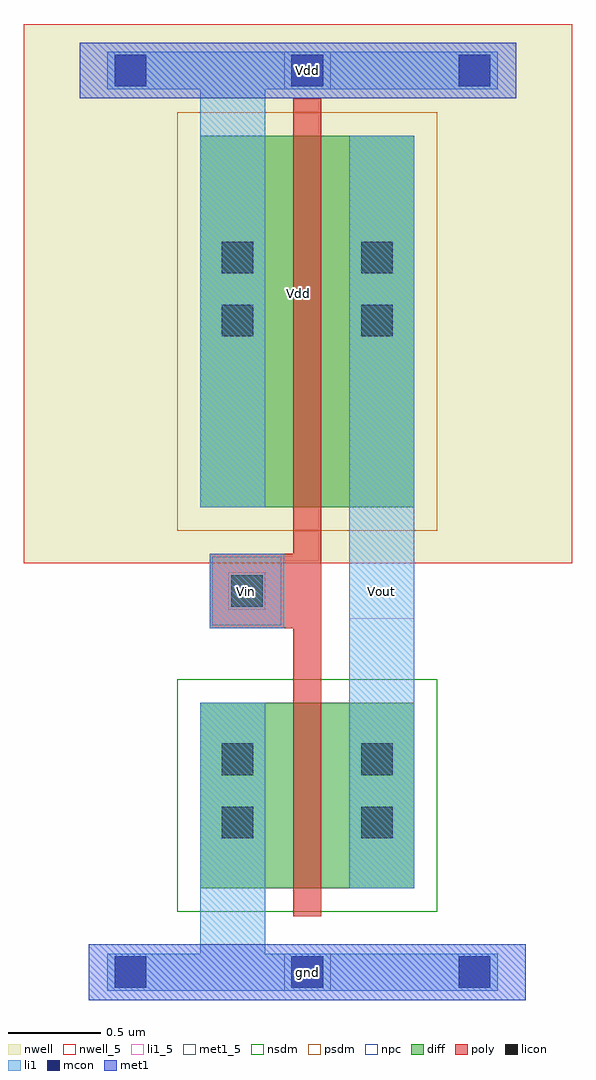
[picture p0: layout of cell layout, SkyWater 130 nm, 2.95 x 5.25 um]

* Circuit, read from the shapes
.subckt layout Vdd Vin Vout gnd
XM1 Vout Vin gnd VSUBS sky130_fd_pr__nfet_01v8 w=1 l=0.15
XM2 Vout Vin Vdd Vdd sky130_fd_pr__pfet_01v8 w=2 l=0.15
.ends

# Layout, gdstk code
import gdstk
lib = gdstk.Library(unit=1e-6, precision=1e-09)
def R(c, l, rs):  # rectangles x0, y0, x1, y1
    for r in rs: c.add(gdstk.rectangle(r[:2], r[2:], *l))
nwell_5 = (64, 5)
nwell = (64, 20)
diff = (65, 20)
poly = (66, 20)
licon = (66, 44)
li1_5 = (67, 5)
li1 = (67, 20)
mcon = (67, 44)
met1_5 = (68, 5)
met1 = (68, 20)
nsdm = (93, 44)
psdm = (94, 20)
npc = (95, 20)

layout = lib.new_cell('layout')
R(layout, nwell_5, [(-1.1,0.3,1.85,3.2)])
R(layout, nwell, [(-1.1,0.3,1.85,3.2)])
R(layout, diff, [(-0.15,-1.45,1,-0.45), (-0.15,0.6,1,2.6)])
R(layout, poly, [(0.35,-1.6,0.5,-0.05), (-0.1,-0.05,0.5,0.35), (0.35,0.35,0.5,2.8)])
R(layout, licon, [(-0.035,-1.18,0.135,-1.01), (0.715,-1.18,0.885,-1.01), (-0.035,-0.84,0.135,-0.67), (0.715,-0.84,0.885,-0.67), (0.015,0.065,0.185,0.235), (-0.035,1.52,0.135,1.69), (0.715,1.52,0.885,1.69), (-0.035,1.86,0.135,2.03), (0.715,1.86,0.885,2.03)])
R(layout, li1_5, [(0.65,0,1,0.3), (0,0.05,0.2,0.25)])
R(layout, li1, [(-0.65,-2,1.45,-1.8), (-0.15,-1.8,0.2,-0.45), (0.65,-1.45,1,2.6), (-0.1,-0.05,0.3,0.35), (-0.15,0.6,0.2,2.85), (-0.65,2.85,1.45,3.05)])
R(layout, mcon, [(-0.61,-1.985,-0.44,-1.815), (0.34,-1.985,0.51,-1.815), (1.24,-1.985,1.41,-1.815), (-0.61,2.865,-0.44,3.035), (0.34,2.865,0.51,3.035), (1.24,2.865,1.41,3.035)])
R(layout, met1_5, [(0.3,-2,0.55,-1.8), (0.3,2.85,0.55,3.05)])
R(layout, met1, [(-0.75,-2.05,1.6,-1.75), (-0.8,2.8,1.55,3.1)])
R(layout, nsdm, [(-0.275,-1.575,1.125,-0.325)])
R(layout, psdm, [(-0.275,0.475,1.125,2.725)])
R(layout, npc, [(-0.085,-0.035,0.285,0.335)])
layout.add(gdstk.Label('Vdd', (0.425,2.95), layer=68, texttype=5))
layout.add(gdstk.Label('Vin', (0.1,0.15), layer=67, texttype=5))
layout.add(gdstk.Label('Vout', (0.825,0.15), layer=67, texttype=5))
layout.add(gdstk.Label('gnd', (0.425,-1.9), layer=68, texttype=5))
layout.add(gdstk.Label('Vdd', (0.375,1.75), layer=64, texttype=5))

lib.write_gds('layout.gds')
